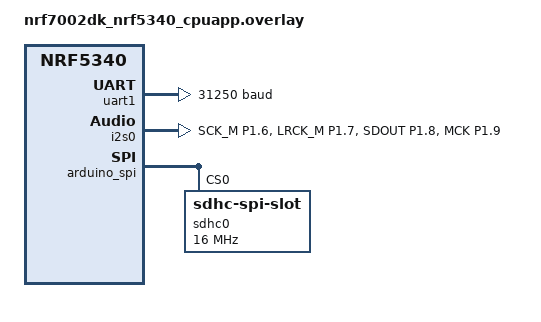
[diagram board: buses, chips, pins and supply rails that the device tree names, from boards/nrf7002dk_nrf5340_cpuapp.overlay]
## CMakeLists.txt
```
cmake_minimum_required(VERSION 3.20.0)

find_package(Zephyr REQUIRED HINTS $ENV{ZEPHYR_BASE})
project(mixxx_zephyr)

# The engine's sizes come from Kconfig.
zephyr_compile_definitions(
  MZ_CHUNK_FRAMES=${CONFIG_MZ_CHUNK_FRAMES}
  MZ_CHUNKS_PER_DECK=${CONFIG_MZ_CHUNKS_PER_DECK}
  MZ_MAX_BLOCK_FRAMES=${CONFIG_MZ_BLOCK_FRAMES}
  MZ_MAX_TRACKS=${CONFIG_MZ_MAX_TRACKS})

include(${CMAKE_CURRENT_SOURCE_DIR}/../engine/engine.cmake)
mz_add_engine(app ${PYTHON_EXECUTABLE})

target_sources(app PRIVATE
  src/main.cpp
  src/audio_out.cpp
  src/midi_uart.cpp
  src/sd_storage.cpp)
```

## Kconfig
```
menu "Mixxx Zephyr"

config MZ_SAMPLE_RATE
	int "Output sample rate (Hz)"
	default 48000
	help
	  Rate of the I2S output. Tracks at other rates are resampled.

config MZ_BLOCK_FRAMES
	int "Frames per audio block"
	default 256
	range 64 512
	help
	  Frames rendered per I2S block: 256 frames at 48 kHz is 5.3 ms.

config MZ_I2S_BLOCKS
	int "I2S blocks in flight"
	default 4
	range 2 8

config MZ_CHUNK_FRAMES
	int "Frames per cache chunk"
	default 4096
	help
	  A power of two. Each chunk holds this many 16-bit stereo frames,
	  so 4096 frames is 16 KiB and about 85 ms at 48 kHz.

config MZ_CHUNKS_PER_DECK
	int "Cache chunks per deck"
	default 6
	range 3 32

config MZ_MAX_TRACKS
	int "Tracks the library lists"
	default 64

config MZ_MUSIC_DIR
	string "Folder on the SD card that holds the tracks"
	default "/SD:/MUSIC"

choice MZ_OUTPUT
	prompt "What the stereo I2S output carries"
	default MZ_OUTPUT_MAIN

config MZ_OUTPUT_MAIN
	bool "Main mix"

config MZ_OUTPUT_HEADPHONES
	bool "Headphone mix"

config MZ_OUTPUT_SPLIT_CUE
	bool "Split cue: cue mix left, main mix right, both mono"

endchoice

config MZ_CONFIRM_AFTER_MS
	int "Mark a new image good after this much clean playback (ms)"
	default 10000
	help
	  After an update MCUboot runs the new image once on trial. The image
	  marks itself good once the SD card is mounted and audio has run this
	  long without the audio thread missing a block; otherwise the next
	  reset returns to the previous image.

endmenu

source "Kconfig.zephyr"
```

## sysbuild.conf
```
# MCUboot as the bootloader, as for the course firmware. The application is
# built as a signed image for slot 0; an update goes to slot 1 and is swapped
# in on the next reset, then reverted unless the new image confirms itself.
SB_CONFIG_BOOTLOADER_MCUBOOT=y
SB_CONFIG_BOOT_SIGNATURE_TYPE_ECDSA_P256=y
# Without SB_CONFIG_BOOT_SIGNATURE_KEY_FILE the build signs with MCUboot's
# public development key, which is only fit for a bench. Pass your own:
#   west build ... -- -DSB_CONFIG_BOOT_SIGNATURE_KEY_FILE=\"/path/to/key.pem\"
```

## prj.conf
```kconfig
# C++ engine: C++17 with the full standard library headers (<atomic>,
# <algorithm>), no exceptions or RTTI.
CONFIG_CPP=y
CONFIG_STD_CPP17=y
CONFIG_REQUIRES_FULL_LIBCPP=y
CONFIG_FPU=y

# Audio out over I2S.
CONFIG_I2S=y

# MIDI in and LED feedback over a UART (DIN MIDI at 31250 baud).
CONFIG_SERIAL=y
CONFIG_UART_INTERRUPT_DRIVEN=y

# Tracks on a FAT-formatted SD card.
CONFIG_GPIO=y
CONFIG_SPI=y
CONFIG_DISK_ACCESS=y
CONFIG_DISK_DRIVER_SDMMC=y
CONFIG_FILE_SYSTEM=y
CONFIG_FAT_FILESYSTEM_ELM=y
CONFIG_FS_FATFS_LFN=y
CONFIG_FS_FATFS_MAX_LFN=95

# Over-the-air updates: the image runs under MCUboot (sysbuild.conf) and
# confirms itself after a clean start.
CONFIG_FLASH=y
CONFIG_FLASH_MAP=y
CONFIG_STREAM_FLASH=y
CONFIG_IMG_MANAGER=y
CONFIG_MCUBOOT_IMG_MANAGER=y
# Resets a stuck image, so that MCUboot can return to the previous one.
CONFIG_WATCHDOG=y

CONFIG_MAIN_STACK_SIZE=4096
CONFIG_LOG=y
CONFIG_LOG_MODE_DEFERRED=y
CONFIG_ASSERT=n
```

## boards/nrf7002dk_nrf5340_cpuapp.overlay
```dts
/*
 * Mixxx Zephyr on the nRF7002 DK (nRF5340 application core).
 *
 * Everything is wired to the Arduino header:
 *
 *   D0  P1.00  MIDI in  (UART1 RX, 31250 baud, through a 6N138 opto-coupler)
 *   D1  P1.01  MIDI out (UART1 TX, for the LEDs)
 *   D4  P1.06  I2S bit clock   -> DAC BCK  (e.g. a PCM5102A board)
 *   D5  P1.07  I2S word clock  -> DAC LRCK
 *   D6  P1.08  I2S data        -> DAC DIN
 *   D7  P1.09  I2S master clock (optional: the PCM5102A makes its own)
 *   D10 P1.12  SD card CS      (SPI3)
 *   D11 P1.13  SD card MOSI
 *   D12 P1.14  SD card MISO
 *   D13 P1.15  SD card SCK
 *
 * Flash: the board's partitions are kept. MCUboot has 64 KiB, the running
 * image (slot 0) and the update (slot 1) 464 KiB each, and settings 32 KiB at
 * the top; the 8 MiB external MX25R64 flash is free for later use.
 */

/ {
	aliases {
		mz-i2s = &i2s0;
		mz-midi-uart = &uart1;
	};
};

/* UART1 and these pins are handed to the network core by default. Nothing
 * runs there in this build, so keep them for MIDI and the DAC.
 */
&gpio_fwd {
	status = "disabled";
};

&uart1 {
	status = "okay";
	current-speed = <31250>;
};

&pinctrl {
	i2s0_default: i2s0_default {
		group1 {
			psels = <NRF_PSEL(I2S_SCK_M, 1, 6)>,
				<NRF_PSEL(I2S_LRCK_M, 1, 7)>,
				<NRF_PSEL(I2S_SDOUT, 1, 8)>,
				<NRF_PSEL(I2S_MCK, 1, 9)>;
		};
	};

	i2s0_sleep: i2s0_sleep {
		group1 {
			psels = <NRF_PSEL(I2S_SCK_M, 1, 6)>,
				<NRF_PSEL(I2S_LRCK_M, 1, 7)>,
				<NRF_PSEL(I2S_SDOUT, 1, 8)>,
				<NRF_PSEL(I2S_MCK, 1, 9)>;
			low-power-enable;
		};
	};
};

/* The audio PLL at 256 x 48 kHz, so 48 kHz comes out exact. */
&clock {
	hfclkaudio-frequency = <12288000>;
};

&i2s0 {
	status = "okay";
	pinctrl-0 = <&i2s0_default>;
	pinctrl-1 = <&i2s0_sleep>;
	pinctrl-names = "default", "sleep";
	clock-source = "ACLK";
};

&arduino_spi {
	status = "okay";

	sdhc0: sdhc@0 {
		compatible = "zephyr,sdhc-spi-slot";
		reg = <0>;
		status = "okay";
		spi-max-frequency = <16000000>;

		mmc {
			compatible = "zephyr,sdmmc-disk";
			disk-name = "SD";
			status = "okay";
		};
	};
};
```

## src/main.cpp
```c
// Mixxx Zephyr: a two-deck player for the Pioneer DDJ-FLX4 on a
// microcontroller. main() mounts the SD card, loads the first two tracks,
// starts the audio and MIDI threads, then serves storage requests itself.
#include <zephyr/device.h>
#include <zephyr/dfu/mcuboot.h>
#include <zephyr/drivers/watchdog.h>
#include <zephyr/kernel.h>
#include <zephyr/logging/log.h>

#include "app.h"
#include "mz/engine.h"

LOG_MODULE_REGISTER(mz_main, LOG_LEVEL_INF);

namespace {

// Far too large for a stack: about 2 * MZ_CHUNKS_PER_DECK * 16 KiB.
mz::Engine g_engine(CONFIG_MZ_SAMPLE_RATE);
app::SdStorage g_storage;

mz::OutputMode outputMode() {
#if defined(CONFIG_MZ_OUTPUT_HEADPHONES)
    return mz::OutputMode::Headphones;
#elif defined(CONFIG_MZ_OUTPUT_SPLIT_CUE)
    return mz::OutputMode::SplitCue;
#else
    return mz::OutputMode::Main;
#endif
}

// The hardware watchdog resets the board if audio stops: a hung image on
// trial then goes back to the previous one.
const struct device* const g_watchdog = DEVICE_DT_GET(DT_ALIAS(watchdog0));
int g_watchdogChannel = -1;

void startWatchdog() {
    if (!device_is_ready(g_watchdog)) {
        LOG_WRN("no watchdog");
        return;
    }
    struct wdt_timeout_cfg config = {};
    config.window.min = 0;
    config.window.max = 4000; // ms
    config.flags = WDT_FLAG_RESET_SOC;
    g_watchdogChannel = wdt_install_timeout(g_watchdog, &config);
    if (g_watchdogChannel < 0 || wdt_setup(g_watchdog, WDT_OPT_PAUSE_HALTED_BY_DBG) != 0) {
        LOG_ERR("cannot start the watchdog");
        g_watchdogChannel = -1;
    }
}

// Feeds the watchdog only while the audio thread is still delivering blocks,
// so a stuck audio thread resets the board as surely as a stuck main loop.
void feedWatchdog() {
    static uint32_t lastBlocks = 0;
    const uint32_t blocks = app::audioBlocks();
    if (g_watchdogChannel >= 0 && blocks != lastBlocks) {
        lastBlocks = blocks;
        wdt_feed(g_watchdog, g_watchdogChannel);
    }
}

// After an update MCUboot boots the new image once. Keep it only if it got
// as far as playing audio cleanly; otherwise do nothing, and the next reset
// (the watchdog, the power switch or the user) brings the old image back.
void confirmIfHealthy(bool storageOk, int64_t startMs) {
    static bool done = false;
    if (done || boot_is_img_confirmed()) {
        done = true;
        return;
    }
    if (!storageOk || app::audioUnderruns() != 0 ||
            k_uptime_get() - startMs < CONFIG_MZ_CONFIRM_AFTER_MS) {
        return;
    }
    const int err = boot_write_img_confirmed();
    if (err == 0) {
        LOG_INF("new image confirmed");
        done = true;
    } else {
        LOG_ERR("cannot confirm the image (%d)", err);
    }
}

} // namespace

int main() {
    LOG_INF("Mixxx Zephyr, image %s", boot_is_img_confirmed() ? "confirmed" : "on trial");

    const bool storageOk = app::mountAndScan(&g_engine.library()) == 0;
    if (storageOk && g_engine.library().count() > 0) {
        // Before the MIDI thread starts, main may post; afterwards only it.
        g_engine.requestLoad(0, 0);
        g_engine.requestLoad(1, g_engine.library().count() > 1 ? 1 : 0);
    }
    g_engine.setOutputMode(outputMode());

    const bool audioOk = app::startAudio(&g_engine) == 0;
    if (!audioOk) {
        LOG_ERR("no audio output");
    }
    if (app::startMidi(&g_engine) != 0) {
        LOG_ERR("no MIDI input");
    }
    if (audioOk) {
        startWatchdog();
    }
    // Reading the SD card can take tens of milliseconds a chunk; run it below
    // the MIDI thread so the controller stays responsive.
    k_thread_priority_set(k_current_get(), K_PRIO_PREEMPT(5));

    const int64_t startMs = k_uptime_get();
    int64_t lastReport = startMs;
    while (true) {
        if (!g_engine.serviceWorker(&g_storage)) {
            k_sleep(K_MSEC(2));
        }
        confirmIfHealthy(storageOk, startMs);
        feedWatchdog();

        if (k_uptime_get() - lastReport >= 5000) {
            lastReport = k_uptime_get();
            for (int d = 0; d < mz::kNumDecks; ++d) {
                const mz::DeckStatus s = g_engine.deckStatus(d);
                LOG_INF("deck %d: %s %lld/%lld, %u cache misses", d + 1,
                        s.playing ? "playing" : "stopped", static_cast<long long>(s.position),
                        static_cast<long long>(s.frameCount), s.underruns);
            }
            LOG_INF("audio: %u blocks, %u late, %u events dropped", app::audioBlocks(),
                    app::audioUnderruns(), g_engine.droppedEvents());
        }
    }
    return 0;
}
```

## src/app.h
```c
// Parts of the Zephyr application, started from main.cpp.
#pragma once

#include <cstdint>

#include "mz/engine.h"

namespace app {

// sd_storage.cpp
class SdStorage : public mz::Storage {
  public:
    mz::File* open(const char* name) override;
    void close(mz::File* file) override;
};
// Mounts the card and adds every .wav in CONFIG_MZ_MUSIC_DIR to the library.
int mountAndScan(mz::Library* library);

// audio_out.cpp: renders blocks and feeds them to I2S, forever.
int startAudio(mz::Engine* engine);
// Blocks written to I2S, and blocks the I2S queue ran dry before.
uint32_t audioBlocks();
uint32_t audioUnderruns();

// midi_uart.cpp: reads the MIDI UART into the engine and drives the LEDs.
int startMidi(mz::Engine* engine);

} // namespace app
```

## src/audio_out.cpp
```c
// The audio thread: render a block, hand it to I2S, repeat.
#include <atomic>

#include <zephyr/device.h>
#include <zephyr/drivers/i2s.h>
#include <zephyr/kernel.h>
#include <zephyr/logging/log.h>

#include "app.h"

LOG_MODULE_REGISTER(mz_audio, LOG_LEVEL_INF);

namespace app {

namespace {

constexpr int kFrames = CONFIG_MZ_BLOCK_FRAMES;
constexpr size_t kBlockBytes = kFrames * 2 * sizeof(int16_t);

K_MEM_SLAB_DEFINE_STATIC(g_slab, kBlockBytes, CONFIG_MZ_I2S_BLOCKS, 4);
K_THREAD_STACK_DEFINE(g_stack, 4096);
struct k_thread g_thread;

const struct device* const g_i2s = DEVICE_DT_GET(DT_ALIAS(mz_i2s));
mz::Engine* g_engine;
std::atomic<uint32_t> g_blocks{0};
std::atomic<uint32_t> g_underruns{0};

int writeBlock() {
    void* block;
    // Waits until I2S has sent a block and freed it: this paces the thread.
    int err = k_mem_slab_alloc(&g_slab, &block, K_FOREVER);
    if (err != 0) {
        return err;
    }
    g_engine->render(static_cast<int16_t*>(block), kFrames);
    err = i2s_write(g_i2s, block, kBlockBytes);
    if (err != 0) {
        k_mem_slab_free(&g_slab, block);
        return err;
    }
    g_blocks.fetch_add(1, std::memory_order_relaxed);
    return 0;
}

void audioThread(void*, void*, void*) {
    // Fill the queue, then start the clocks.
    for (int i = 0; i < CONFIG_MZ_I2S_BLOCKS - 1; ++i) {
        writeBlock();
    }
    if (i2s_trigger(g_i2s, I2S_DIR_TX, I2S_TRIGGER_START) != 0) {
        LOG_ERR("cannot start I2S");
        return;
    }
    while (true) {
        const int err = writeBlock();
        if (err == -EIO) {
            // The queue ran dry (we were late): restart the stream.
            g_underruns.fetch_add(1, std::memory_order_relaxed);
            i2s_trigger(g_i2s, I2S_DIR_TX, I2S_TRIGGER_DROP);
            i2s_trigger(g_i2s, I2S_DIR_TX, I2S_TRIGGER_PREPARE);
            for (int i = 0; i < CONFIG_MZ_I2S_BLOCKS - 1; ++i) {
                writeBlock();
            }
            i2s_trigger(g_i2s, I2S_DIR_TX, I2S_TRIGGER_START);
        } else if (err != 0) {
            LOG_ERR("i2s_write failed (%d)", err);
            k_sleep(K_MSEC(10));
        }
    }
}

} // namespace

int startAudio(mz::Engine* engine) {
    if (!device_is_ready(g_i2s)) {
        LOG_ERR("I2S is not ready");
        return -ENODEV;
    }
    g_engine = engine;

    struct i2s_config config = {};
    config.word_size = 16;
    config.channels = 2;
    config.format = I2S_FMT_DATA_FORMAT_I2S;
    config.options = I2S_OPT_BIT_CLK_CONTROLLER | I2S_OPT_FRAME_CLK_CONTROLLER;
    config.frame_clk_freq = CONFIG_MZ_SAMPLE_RATE;
    config.mem_slab = &g_slab;
    config.block_size = kBlockBytes;
    config.timeout = 1000;
    const int err = i2s_configure(g_i2s, I2S_DIR_TX, &config);
    if (err != 0) {
        LOG_ERR("cannot configure I2S (%d)", err);
        return err;
    }

    // Above every other thread: a late block is an audible click.
    k_thread_create(&g_thread, g_stack, K_THREAD_STACK_SIZEOF(g_stack), audioThread,
            nullptr, nullptr, nullptr, K_PRIO_COOP(2), 0, K_NO_WAIT);
    k_thread_name_set(&g_thread, "audio");
    return 0;
}

uint32_t audioBlocks() {
    return g_blocks.load(std::memory_order_relaxed);
}

uint32_t audioUnderruns() {
    return g_underruns.load(std::memory_order_relaxed);
}

} // namespace app
```

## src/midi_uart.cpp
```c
// The control thread: MIDI bytes from the UART into the engine, LED state
// back out.
//
// The DDJ-FLX4 is a USB device and the nRF5340 has no USB host, so the
// controller's MIDI has to arrive over DIN MIDI (or a USB-host-to-DIN
// adapter). A board with a USB host could feed the same MidiParser.
#include <zephyr/device.h>
#include <zephyr/drivers/uart.h>
#include <zephyr/kernel.h>
#include <zephyr/logging/log.h>
#include <zephyr/sys/ring_buffer.h>

#include "app.h"
#include "mz/midi.h"

LOG_MODULE_REGISTER(mz_midi, LOG_LEVEL_INF);

namespace app {

namespace {

const struct device* const g_uart = DEVICE_DT_GET(DT_ALIAS(mz_midi_uart));
RING_BUF_DECLARE(g_rx, 256);
K_SEM_DEFINE(g_rxReady, 0, 1);
K_THREAD_STACK_DEFINE(g_stack, 3072);
struct k_thread g_thread;
mz::Engine* g_engine;

void uartIsr(const struct device* dev, void*) {
    if (!uart_irq_update(dev)) {
        return;
    }
    while (uart_irq_rx_ready(dev)) {
        uint8_t bytes[16];
        const int n = uart_fifo_read(dev, bytes, sizeof(bytes));
        if (n <= 0) {
            break;
        }
        ring_buf_put(&g_rx, bytes, static_cast<uint32_t>(n));
        k_sem_give(&g_rxReady);
    }
}

void sendMidi(const uint8_t* bytes, size_t length, void*) {
    for (size_t i = 0; i < length; ++i) {
        uart_poll_out(g_uart, bytes[i]);
    }
}

void midiThread(void*, void*, void*) {
    mz::MidiParser parser;
    mz::MidiMapper mapper(g_engine, &mz::kPioneerDdjFlx4Mapping);
    mz::MidiOutputs leds(g_engine, &mz::kPioneerDdjFlx4Mapping, sendMidi, nullptr);
    leds.update(true);
    while (true) {
        // Wake for input, or every 10 ms to refresh the LEDs.
        k_sem_take(&g_rxReady, K_MSEC(10));
        uint8_t bytes[32];
        uint32_t n;
        while ((n = ring_buf_get(&g_rx, bytes, sizeof(bytes))) > 0) {
            for (uint32_t i = 0; i < n; ++i) {
                mz::MidiMessage message;
                if (parser.feed(bytes[i], &message)) {
                    mapper.process(message);
                }
            }
        }
        leds.update();
    }
}

} // namespace

int startMidi(mz::Engine* engine) {
    if (!device_is_ready(g_uart)) {
        LOG_ERR("MIDI UART is not ready");
        return -ENODEV;
    }
    g_engine = engine;
    uart_irq_callback_user_data_set(g_uart, uartIsr, nullptr);
    uart_irq_rx_enable(g_uart);
    k_thread_create(&g_thread, g_stack, K_THREAD_STACK_SIZEOF(g_stack), midiThread,
            nullptr, nullptr, nullptr, K_PRIO_PREEMPT(2), 0, K_NO_WAIT);
    k_thread_name_set(&g_thread, "midi");
    return 0;
}

} // namespace app
```

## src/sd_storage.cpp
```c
// Tracks on a FAT-formatted SD card, through Zephyr's file-system API.
#include <cstdio>
#include <cstring>

#include <ff.h>
#include <zephyr/fs/fs.h>
#include <zephyr/logging/log.h>

#include "app.h"

LOG_MODULE_REGISTER(mz_storage, LOG_LEVEL_INF);

namespace app {

namespace {

FATFS g_fat;
fs_mount_t g_mount = {
        .type = FS_FATFS,
        .mnt_point = "/SD:",
        .fs_data = &g_fat,
};

// One open file per deck plus one spare, without a heap.
class FsFile : public mz::File {
  public:
    bool open(const char* path) {
        fs_file_t_init(&m_file);
        if (fs_open(&m_file, path, FS_O_READ) != 0) {
            return false;
        }
        struct fs_dirent entry;
        m_size = fs_stat(path, &entry) == 0 ? entry.size : 0;
        m_position = 0;
        m_inUse = true;
        return true;
    }
    void close() {
        fs_close(&m_file);
        m_inUse = false;
    }
    long read(uint64_t offset, void* buffer, size_t length) override {
        if (offset != m_position) {
            if (fs_seek(&m_file, static_cast<off_t>(offset), FS_SEEK_SET) != 0) {
                return -1;
            }
            m_position = offset;
        }
        const ssize_t n = fs_read(&m_file, buffer, length);
        if (n < 0) {
            return -1;
        }
        m_position += static_cast<uint64_t>(n);
        return static_cast<long>(n);
    }
    uint64_t size() override {
        return m_size;
    }
    bool inUse() const {
        return m_inUse;
    }

  private:
    fs_file_t m_file;
    uint64_t m_size = 0;
    uint64_t m_position = 0;
    bool m_inUse = false;
};

FsFile g_files[mz::kNumDecks + 1];

bool hasWavExtension(const char* name) {
    const size_t length = std::strlen(name);
    if (length < 4) {
        return false;
    }
    const char* ext = name + length - 4;
    return ext[0] == '.' && (ext[1] == 'w' || ext[1] == 'W') && (ext[2] == 'a' || ext[2] == 'A') &&
            (ext[3] == 'v' || ext[3] == 'V');
}

} // namespace

mz::File* SdStorage::open(const char* name) {
    char path[mz::kMaxPathLength + sizeof(CONFIG_MZ_MUSIC_DIR) + 2];
    std::snprintf(path, sizeof(path), "%s/%s", CONFIG_MZ_MUSIC_DIR, name);
    for (FsFile& file : g_files) {
        if (!file.inUse()) {
            if (file.open(path)) {
                return &file;
            }
            LOG_WRN("cannot open %s", path);
            return nullptr;
        }
    }
    LOG_ERR("no free file for %s", path);
    return nullptr;
}

void SdStorage::close(mz::File* file) {
    static_cast<FsFile*>(file)->close();
}

int mountAndScan(mz::Library* library) {
    int err = fs_mount(&g_mount);
    if (err != 0) {
        LOG_ERR("cannot mount the SD card (%d)", err);
        return err;
    }
    fs_dir_t dir;
    fs_dir_t_init(&dir);
    err = fs_opendir(&dir, CONFIG_MZ_MUSIC_DIR);
    if (err != 0) {
        LOG_ERR("no folder %s on the card (%d)", CONFIG_MZ_MUSIC_DIR, err);
        return err;
    }
    struct fs_dirent entry;
    while (fs_readdir(&dir, &entry) == 0 && entry.name[0] != '\0') {
        if (entry.type == FS_DIR_ENTRY_FILE && hasWavExtension(entry.name)) {
            if (!library->add(entry.name)) {
                LOG_WRN("library full, skipping %s", entry.name);
            }
        }
    }
    fs_closedir(&dir);
    LOG_INF("%d tracks in %s", library->count(), CONFIG_MZ_MUSIC_DIR);
    return 0;
}

} // namespace app
```
